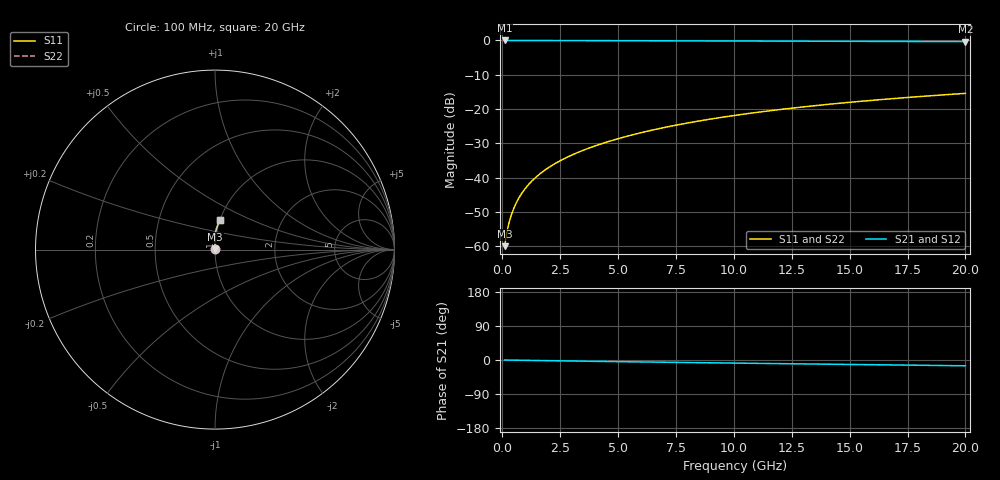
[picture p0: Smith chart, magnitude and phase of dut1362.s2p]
! Touchstone file exported from HFSS 2024.1.0
!  File:  C:/UserFiles/LocalFiles/RDL_TSV_Batchsim/temp_RDL_bottom_1362_1780370756.aedt
!  Generated:  11:28:11 AM Jun  2, 2026
!  Design:  RDL_bottom
!  Project:  temp_RDL_bottom_1362_1780370756
!  Setup:  Setup1
!  Solution:  Sweep
! Variables:
!  dtsv = 10.80580581um
!  hbump = 3um
!  htsv = 65.43um
!  ldown = 180.59um
!  lrdl = 100um
!  p = 40
!  p1 = 59.55um
!  rhole = 1um
!  t = 450um
!  tdown = 4.93um
!  trdl = 3.915915916um
!  wdown = 26.61um
!  wrdl = 20um
# GHz S MA R 50.000000
! Terminal data exported
! Port[1] = RDL1_T1
! Port[2] = RDL1_T2
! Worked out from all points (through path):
!   200 points, 100 MHz to 20 GHz, reference 50 ohm
!   highest |S21| = -0.01 dB at 100 MHz (marker M1); lowest = -0.3 dB at 20 GHz (marker M2)
!   group delay of S21, straight-line fit = 2.09 ps
!   lowest |S11| = -60.0 dB at 100 MHz (marker M3), VSWR 1.00, Z = 50.1 + j0.0749 ohm
!   |S11| at or under -10 dB: start of sweep to end of sweep
!   |S22| runs from -60.0 to -15.4 dB; largest |S21 - S12| = 3e-15
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0.1  0.0009966 48.6  0.9993 -0.1  0.9993 -0.1  0.0009966 48.6
! Gamma 0 0 0 0
! Port Impedance 50 0 50 0
0.2  0.001608 64.3  0.9993 -0.2  0.9993 -0.2  0.001608 64.3
0.3  0.002249 71.4  0.9992 -0.3  0.9992 -0.3  0.002249 71.4
0.4  0.002904 75.6  0.9992 -0.4  0.9992 -0.4  0.002904 75.6
0.5  0.003569 78.4  0.9991 -0.5  0.9991 -0.5  0.003569 78.4
0.7  0.004919 81.8  0.999 -0.6  0.999 -0.6  0.004919 81.8
0.8  0.0056 83.0  0.9989 -0.7  0.9989 -0.7  0.0056 83.0
1  0.006972 84.7  0.9988 -0.9  0.9988 -0.9  0.006972 84.7
1.2  0.008354 86.0  0.9986 -1.1  0.9986 -1.1  0.008354 86.0
1.4  0.009745 86.9  0.9984 -1.3  0.9984 -1.3  0.009745 86.9
1.7  0.01185 88.0  0.9981 -1.5  0.9981 -1.5  0.01185 88.0
2  0.01398 88.8  0.9977 -1.8  0.9977 -1.8  0.01398 88.8
2.7  0.01904 90.2  0.9966 -2.4  0.9966 -2.4  0.01904 90.2
3.5  0.02502 91.1  0.9951 -3.1  0.9951 -3.1  0.02502 91.1
4.2  0.03044 91.7  0.9936 -3.7  0.9936 -3.7  0.03044 91.7
5  0.03685 92.0  0.9918 -4.3  0.9918 -4.3  0.03685 92.0
6.8  0.05198 91.7  0.9877 -5.8  0.9877 -5.8  0.05198 91.7
8.4  0.06599 90.9  0.9841 -7.0  0.9841 -7.0  0.06599 90.9
10.1  0.08117 89.6  0.9805 -8.2  0.9805 -8.2  0.08118 89.6
13.4  0.1109 86.6  0.9738 -10.6  0.9738 -10.6  0.1109 86.6
16.7  0.1402 83.5  0.9674 -13.0  0.9674 -13.0  0.1402 83.5
20  0.1689 80.5  0.9609 -15.3  0.9609 -15.3  0.1689 80.5
